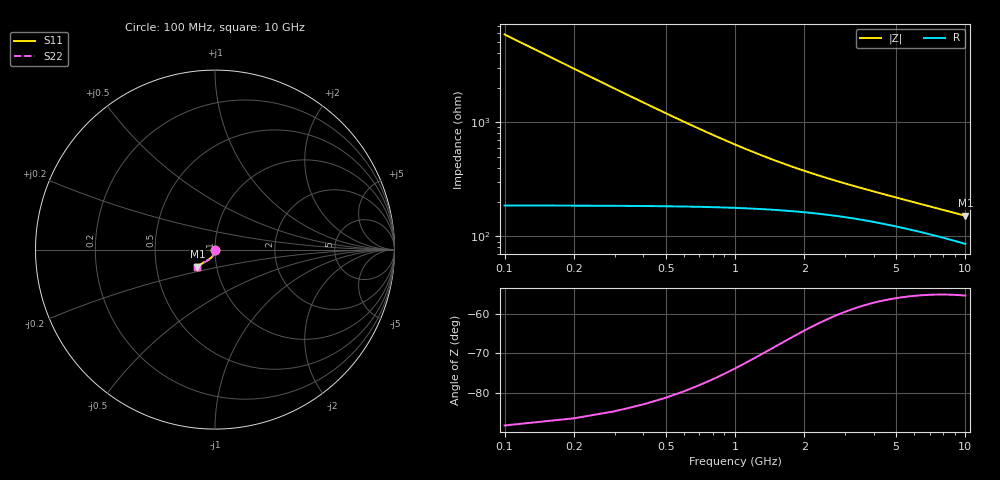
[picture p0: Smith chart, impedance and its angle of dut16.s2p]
! Touchstone file exported from HFSS 2024.1.0
!  File:  C:/UserFiles/LocalFiles/RDL_TSV_Batchsim/temp_TSV1_16_1778746770.aedt
!  Generated:  04:23:31 PM May 14, 2026
!  Design:  TSV1
!  Project:  temp_TSV1_16_1778746770
!  Setup:  Setup1
!  Solution:  Sweep
! Variables:
!  dtsv = 24.57um
!  hbump = 3um
!  htsv = 91.58um
!  lrdl = 252.1521522um
!  p = 40
!  p1 = 53.37um
!  t = 500um
!  trdl = 3um
!  wrdl = 24.89489489um
# GHz S MA R 50.000000
! Terminal data exported
! Port[1] = TSV22_T1
! Port[2] = TSV22_T2
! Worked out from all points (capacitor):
!   100 points, 100 MHz to 10 GHz, reference 50 ohm
!   read as one part in shunt: C = 271 fF near 100 MHz
!   lowest |Z| = 152 ohm at 10 GHz (marker M1)
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0.1  0.003991 -90.9  0.9998 -0.3  0.9998 -0.3  0.003991 -90.9
! Gamma 0 0 0 0
! Port Impedance 50 0 50 0
0.2  0.007957 -93.5  0.9993 -0.5  0.9993 -0.5  0.007957 -93.5
0.3  0.01188 -95.8  0.9986 -0.8  0.9986 -0.8  0.01188 -95.8
0.4  0.01573 -97.8  0.9976 -1.0  0.9976 -1.0  0.01573 -97.8
0.5  0.0195 -99.8  0.9964 -1.2  0.9964 -1.2  0.0195 -99.8
0.6  0.02317 -101.7  0.995 -1.5  0.995 -1.5  0.02317 -101.7
0.7  0.02671 -103.6  0.9934 -1.7  0.9934 -1.7  0.02671 -103.6
0.8  0.03014 -105.3  0.9917 -1.9  0.9917 -1.9  0.03014 -105.3
0.9  0.03343 -107.0  0.9899 -2.1  0.9899 -2.1  0.03343 -107.0
1.1  0.0396 -110.1  0.9862 -2.4  0.9862 -2.4  0.0396 -110.1
1.4  0.04783 -114.1  0.9805 -2.9  0.9805 -2.9  0.04783 -114.1
1.6  0.0527 -116.5  0.9768 -3.1  0.9768 -3.1  0.0527 -116.5
1.8  0.05712 -118.5  0.9733 -3.4  0.9733 -3.4  0.05712 -118.5
2.1  0.06304 -121.1  0.9682 -3.7  0.9682 -3.7  0.06304 -121.1
2.5  0.06989 -123.8  0.9622 -4.0  0.9622 -4.0  0.06989 -123.8
2.9  0.07585 -125.9  0.9568 -4.3  0.9568 -4.3  0.07585 -125.9
3.4  0.08241 -127.9  0.951 -4.7  0.951 -4.7  0.08241 -127.9
4.2  0.09153 -130.2  0.943 -5.2  0.943 -5.2  0.09153 -130.2
5.1  0.1004 -131.9  0.9355 -5.7  0.9355 -5.7  0.1004 -131.9
6.7  0.114 -133.9  0.9246 -6.6  0.9246 -6.6  0.114 -133.9
8.4  0.1263 -135.2  0.9152 -7.4  0.9152 -7.4  0.1263 -135.2
10  0.1365 -136.0  0.9079 -8.2  0.9079 -8.2  0.1365 -136.0
